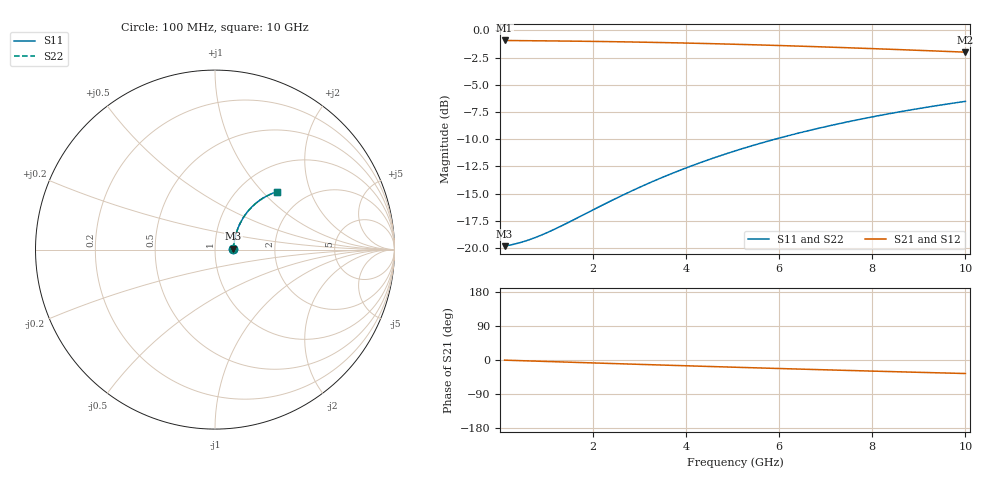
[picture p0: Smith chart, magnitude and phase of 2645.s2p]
# Hz S RI R 50.00
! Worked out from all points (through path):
!   100 points, 100 MHz to 10 GHz, reference 50 ohm
!   highest |S21| = -0.93 dB at 100 MHz (marker M1); lowest = -2.0 dB at 10 GHz (marker M2)
!   group delay of S21, straight-line fit = 9.94 ps
!   lowest |S11| = -19.8 dB at 100 MHz (marker M3), VSWR 1.23, Z = 61.3 + j0.583 ohm
!   |S11| at or under -10 dB: start of sweep to 5.913 GHz
!   |S22| runs from -19.8 to -6.5 dB; largest |S21 - S12| = 0
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1e8  0.1019 0.0047  0.8981 -0.00609  0.8981 -0.00609  0.1019 0.0047
3e8  0.1032 0.0141  0.8968 -0.0182  0.8968 -0.0182  0.1032 0.0141
5e8  0.1044 0.0234  0.8956 -0.0303  0.8956 -0.0303  0.1044 0.0234
8e8  0.1063 0.0373  0.8936 -0.0484  0.8936 -0.0484  0.1063 0.0373
1e9  0.1078 0.0465  0.8921 -0.0604  0.8921 -0.0604  0.1078 0.0465
1.2e9  0.1095 0.0556  0.8903 -0.0723  0.8903 -0.0723  0.1095 0.0556
1.8e9  0.1159 0.0827  0.8837 -0.1077  0.8837 -0.1077  0.1159 0.0827
2.3e9  0.1227 0.1047  0.8767 -0.1366  0.8767 -0.1366  0.1227 0.1047
2.7e9  0.1291 0.1218  0.8701 -0.1593  0.8701 -0.1593  0.1291 0.1218
3.1e9  0.1363 0.1385  0.8627 -0.1816  0.8627 -0.1816  0.1363 0.1385
3.4e9  0.1423 0.1507  0.8565 -0.1979  0.8565 -0.1979  0.1423 0.1507
3.8e9  0.1509 0.1664  0.8476 -0.2193  0.8476 -0.2193  0.1509 0.1664
4.2e9  0.1602 0.1816  0.838 -0.24  0.838 -0.24  0.1602 0.1816
4.6e9  0.1701 0.1961  0.8277 -0.2601  0.8277 -0.2601  0.1701 0.1961
5.1e9  0.1835 0.2134  0.8138 -0.2844  0.8138 -0.2844  0.1835 0.2134
5.5e9  0.1948 0.2264  0.8021 -0.303  0.8021 -0.303  0.1948 0.2264
5.9e9  0.2066 0.2387  0.7898 -0.3209  0.7898 -0.3209  0.2066 0.2387
6.7e9  0.2315 0.2611  0.7638 -0.3546  0.7638 -0.3546  0.2315 0.2611
7.5e9  0.2578 0.2805  0.7363 -0.3853  0.7363 -0.3853  0.2578 0.2805
8.4e9  0.2886 0.2987  0.7041 -0.4163  0.7041 -0.4163  0.2886 0.2987
9.2e9  0.3165 0.3118  0.6747 -0.4408  0.6747 -0.4408  0.3165 0.3118
1e10  0.3447 0.322  0.6449 -0.4625  0.6449 -0.4625  0.3447 0.322
